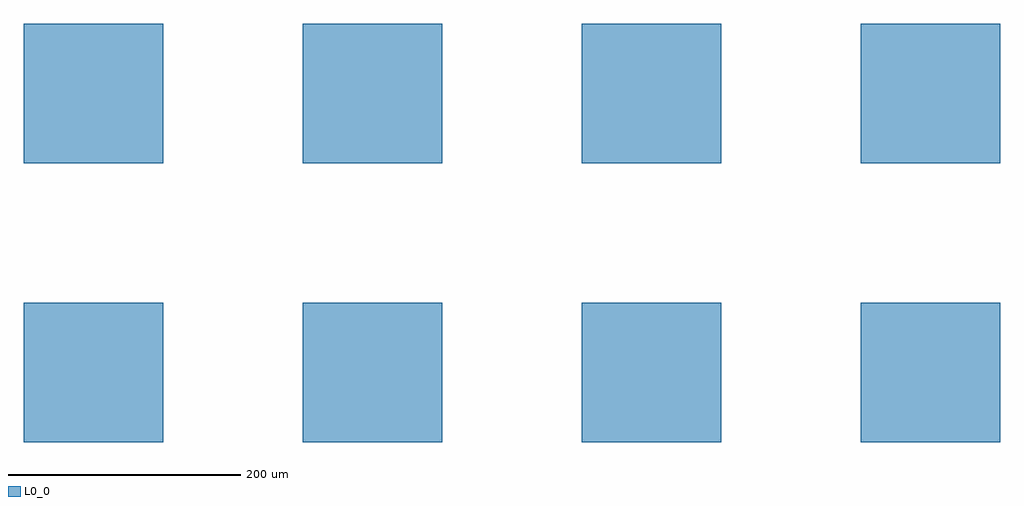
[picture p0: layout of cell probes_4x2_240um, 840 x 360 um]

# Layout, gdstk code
import gdstk
lib = gdstk.Library(unit=1e-6, precision=1e-09)
def R(c, l, rs):  # rectangles x0, y0, x1, y1
    for r in rs: c.add(gdstk.rectangle(r[:2], r[2:], *l))
def A(c, l, x, y, w, h, nx, ny, dx, dy):  # array of equal rectangles
    R(c, l, [(x+i*dx, y+j*dy, x+i*dx+w, y+j*dy+h) for i in range(nx) for j in range(ny)])
L0_0 = (0, 0)

probes_4x2_240um = lib.new_cell('probes_4x2_240um')
A(probes_4x2_240um, L0_0, -420, -180, 120, 120, 4, 2, 240, 240)

lib.write_gds('probes_4x2_240um.gds')
